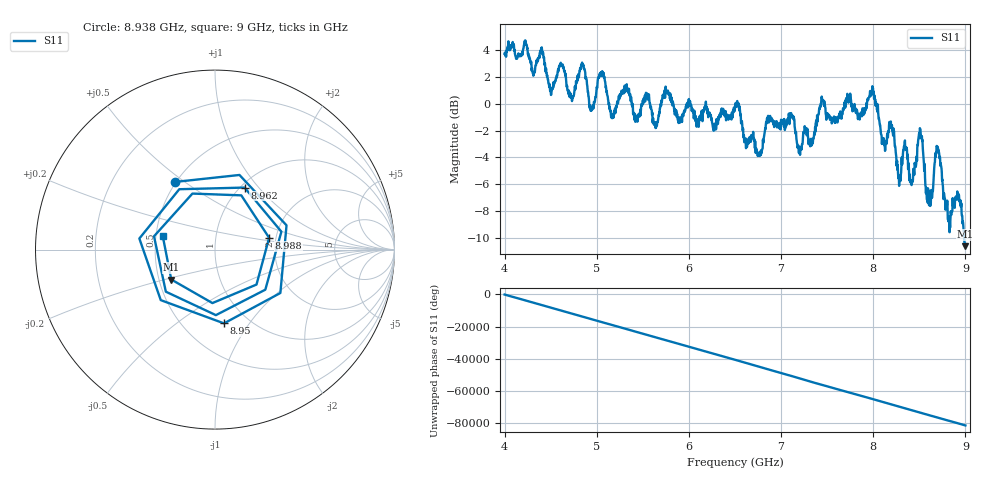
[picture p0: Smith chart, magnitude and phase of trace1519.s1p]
! Created with skrf 1.8.0 (http://scikit-rf.org).
# Hz S RI R 50.0
!freq ReS11 ImS11
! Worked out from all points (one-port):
!   1601 points, 4 GHz to 9 GHz, reference 50 ohm
!   lowest |S11| = -10.6 dB at 8.997 GHz (marker M1), VSWR 1.84, Z = 29 - j10.6 ohm
!   |S11| at or under -10 dB: 8.986855 GHz to end of sweep
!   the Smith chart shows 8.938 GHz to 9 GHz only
!   S11 on the Smith chart (normalised r, x): 8.938 GHz: 0.49, +0.46; 8.95 GHz: 0.77, -0.77; 8.962 GHz: 1.04, +0.85; 8.988 GHz: 1.84, +0.27; 9 GHz: 0.54, +0.09
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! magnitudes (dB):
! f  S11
! 4 GHz  3.7
! 4.625 GHz  2.8
! 4.728 GHz  0.6
! 4.85 GHz  2.9
! 4.941 GHz  -0.5
! 5.05 GHz  2.3
! 5.162 GHz  -0.8
! 5.25 GHz  0.7
! 5.875 GHz  -1.0
! 6.5 GHz  -0.3
! 6.762 GHz  -3.7
! 7.125 GHz  -1.0
! 7.203 GHz  -3.2
! 7.75 GHz  0.7
! 7.991 GHz  1.3
! 8.278 GHz  -5.4
! 8.375 GHz  -3.8
! 8.422 GHz  -5.7
! 8.512 GHz  -1.9
! 8.6 GHz  -7.2
! 8.697 GHz  -3.2
! 8.809 GHz  -8.6
! 8.938 GHz  -7.2
! 8.95 GHz  -7.7
! 8.962 GHz  -8.3
! 8.988 GHz  -10.2
! 8.997 GHz  -10.6
! 9 GHz  -10.4
